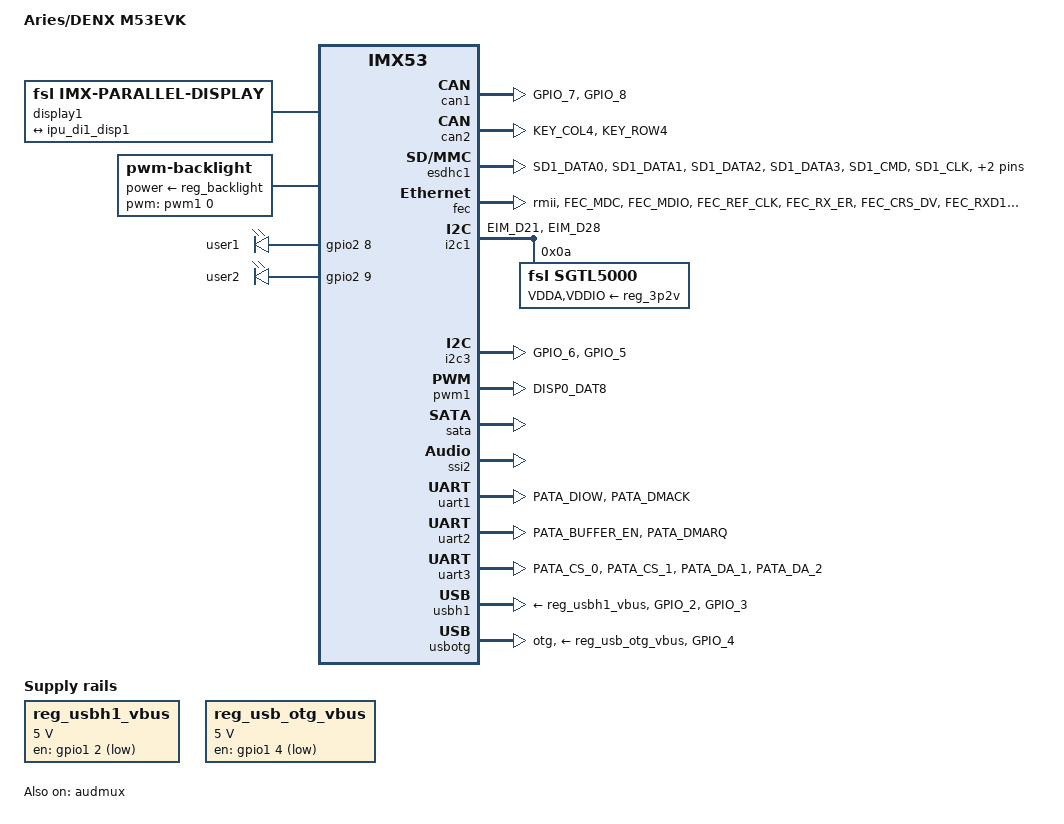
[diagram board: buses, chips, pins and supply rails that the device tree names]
/*
 * Copyright (C) 2013 Marek Vasut <marex@denx.de>
 *
 * The code contained herein is licensed under the GNU General Public
 * License. You may obtain a copy of the GNU General Public License
 * Version 2 or later at the following locations:
 *
 * http://www.opensource.org/licenses/gpl-license.html
 * http://www.gnu.org/copyleft/gpl.html
 */

/dts-v1/;
#include "imx53-m53.dtsi"

/ {
	model = "Aries/DENX M53EVK";
	compatible = "aries,imx53-m53evk", "denx,imx53-m53evk", "fsl,imx53";

	display1: display@di1 {
		compatible = "fsl,imx-parallel-display";
		interface-pix-fmt = "bgr666";
		pinctrl-names = "default";
		pinctrl-0 = <&pinctrl_ipu_disp1>;

		display-timings {
			800x480p60 {
				native-mode;
				clock-frequency = <31500000>;
				hactive = <800>;
				vactive = <480>;
				hfront-porch = <40>;
				hback-porch = <88>;
				hsync-len = <128>;
				vback-porch = <33>;
				vfront-porch = <9>;
				vsync-len = <3>;
				vsync-active = <1>;
			};
		};

		port {
			display1_in: endpoint {
				remote-endpoint = <&ipu_di1_disp1>;
			};
		};
	};

	backlight {
		compatible = "pwm-backlight";
		pwms = <&pwm1 0 3000>;
		brightness-levels = <0 4 8 16 32 64 128 255>;
		default-brightness-level = <6>;
		power-supply = <&reg_backlight>;
	};

	leds {
		compatible = "gpio-leds";
		pinctrl-names = "default";
		pinctrl-0 = <&led_pin_gpio>;

		user1 {
			label = "user1";
			gpios = <&gpio2 8 0>;
			linux,default-trigger = "heartbeat";
		};

		user2 {
			label = "user2";
			gpios = <&gpio2 9 0>;
			linux,default-trigger = "heartbeat";
		};
	};

	regulators {
		compatible = "simple-bus";
		#address-cells = <1>;
		#size-cells = <0>;

		reg_usbh1_vbus: regulator@3 {
			compatible = "regulator-fixed";
			reg = <3>;
			regulator-name = "vbus";
			regulator-min-microvolt = <5000000>;
			regulator-max-microvolt = <5000000>;
			gpio = <&gpio1 2 0>;
		};

		reg_usb_otg_vbus: regulator@4 {
			compatible = "regulator-fixed";
			reg = <4>;
			regulator-name = "usb_otg_vbus";
			regulator-min-microvolt = <5000000>;
			regulator-max-microvolt = <5000000>;
			gpio = <&gpio1 4 0>;
		};
	};

	sound {
		compatible = "fsl,imx53-m53evk-sgtl5000",
			     "fsl,imx-audio-sgtl5000";
		model = "imx53-m53evk-sgtl5000";
		ssi-controller = <&ssi2>;
		audio-codec = <&sgtl5000>;
		audio-routing =
			"MIC_IN", "Mic Jack",
			"Mic Jack", "Mic Bias",
			"LINE_IN", "Line In Jack",
			"Headphone Jack", "HP_OUT",
			"Ext Spk", "LINE_OUT";
		mux-int-port = <2>;
		mux-ext-port = <4>;
	};
};

&audmux {
	pinctrl-names = "default";
	pinctrl-0 = <&pinctrl_audmux>;
	status = "okay";
};

&can1 {
	pinctrl-names = "default";
	pinctrl-0 = <&pinctrl_can1>;
	status = "okay";
};

&can2 {
	pinctrl-names = "default";
	pinctrl-0 = <&pinctrl_can2>;
	status = "okay";
};

&esdhc1 {
	pinctrl-names = "default";
	pinctrl-0 = <&pinctrl_esdhc1>;
	cd-gpios = <&gpio1 1 GPIO_ACTIVE_LOW>;
	wp-gpios = <&gpio1 9 GPIO_ACTIVE_HIGH>;
	status = "okay";
};

&fec {
	pinctrl-names = "default";
	pinctrl-0 = <&pinctrl_fec>;
	phy-mode = "rmii";
	status = "okay";
};

&i2c1 {
	pinctrl-names = "default";
	pinctrl-0 = <&pinctrl_i2c1>;
	status = "okay";

	sgtl5000: codec@0a {
		compatible = "fsl,sgtl5000";
		reg = <0x0a>;
		VDDA-supply = <&reg_3p2v>;
		VDDIO-supply = <&reg_3p2v>;
		clocks = <&clks IMX5_CLK_SSI_EXT1_GATE>;
	};
};

&i2c3 {
	pinctrl-names = "default";
	pinctrl-0 = <&pinctrl_i2c3>;
	status = "okay";
};

&iomuxc {
	pinctrl-names = "default";
	pinctrl-0 = <&pinctrl_hog>;

	imx53-m53evk {
		pinctrl_usb: usbgrp {
			fsl,pins = <
				MX53_PAD_GPIO_2__GPIO1_2		0x80000000
				MX53_PAD_GPIO_3__USBOH3_USBH1_OC	0x80000000
			>;
		};

		pinctrl_usbotg: usbotggrp {
			fsl,pins = <
				MX53_PAD_GPIO_4__GPIO1_4		0x000b0
			>;
		};

		led_pin_gpio: led_gpio@0 {
			fsl,pins = <
				MX53_PAD_PATA_DATA8__GPIO2_8		0x80000000
				MX53_PAD_PATA_DATA9__GPIO2_9		0x80000000
			>;
		};

		pinctrl_audmux: audmuxgrp {
			fsl,pins = <
				MX53_PAD_SD2_DATA3__AUDMUX_AUD4_TXC	0x80000000
				MX53_PAD_SD2_DATA2__AUDMUX_AUD4_TXD	0x80000000
				MX53_PAD_SD2_DATA1__AUDMUX_AUD4_TXFS	0x80000000
				MX53_PAD_SD2_DATA0__AUDMUX_AUD4_RXD	0x80000000
			>;
		};

		pinctrl_can1: can1grp {
			fsl,pins = <
				MX53_PAD_GPIO_7__CAN1_TXCAN		0x80000000
				MX53_PAD_GPIO_8__CAN1_RXCAN		0x80000000
			>;
		};

		pinctrl_can2: can2grp {
			fsl,pins = <
				MX53_PAD_KEY_COL4__CAN2_TXCAN		0x80000000
				MX53_PAD_KEY_ROW4__CAN2_RXCAN		0x80000000
			>;
		};

		pinctrl_esdhc1: esdhc1grp {
			fsl,pins = <
				MX53_PAD_SD1_DATA0__ESDHC1_DAT0		0x1d5
				MX53_PAD_SD1_DATA1__ESDHC1_DAT1		0x1d5
				MX53_PAD_SD1_DATA2__ESDHC1_DAT2		0x1d5
				MX53_PAD_SD1_DATA3__ESDHC1_DAT3		0x1d5
				MX53_PAD_SD1_CMD__ESDHC1_CMD		0x1d5
				MX53_PAD_SD1_CLK__ESDHC1_CLK		0x1d5
			>;
		};

		pinctrl_fec: fecgrp {
			fsl,pins = <
				MX53_PAD_FEC_MDC__FEC_MDC		0x80000000
				MX53_PAD_FEC_MDIO__FEC_MDIO		0x80000000
				MX53_PAD_FEC_REF_CLK__FEC_TX_CLK	0x80000000
				MX53_PAD_FEC_RX_ER__FEC_RX_ER		0x80000000
				MX53_PAD_FEC_CRS_DV__FEC_RX_DV		0x80000000
				MX53_PAD_FEC_RXD1__FEC_RDATA_1		0x80000000
				MX53_PAD_FEC_RXD0__FEC_RDATA_0		0x80000000
				MX53_PAD_FEC_TX_EN__FEC_TX_EN		0x80000000
				MX53_PAD_FEC_TXD1__FEC_TDATA_1		0x80000000
				MX53_PAD_FEC_TXD0__FEC_TDATA_0		0x80000000
			>;
		};

		pinctrl_i2c1: i2c1grp {
			fsl,pins = <
				MX53_PAD_EIM_D21__I2C1_SCL		0xc0000000
				MX53_PAD_EIM_D28__I2C1_SDA		0xc0000000
			>;
		};

		pinctrl_i2c3: i2c3grp {
			fsl,pins = <
				MX53_PAD_GPIO_6__I2C3_SDA		0xc0000000
				MX53_PAD_GPIO_5__I2C3_SCL		0xc0000000
			>;
		};

		pinctrl_ipu_disp1: ipudisp1grp {
			fsl,pins = <
				MX53_PAD_EIM_DA9__IPU_DISP1_DAT_0	0x5
				MX53_PAD_EIM_DA8__IPU_DISP1_DAT_1	0x5
				MX53_PAD_EIM_DA7__IPU_DISP1_DAT_2	0x5
				MX53_PAD_EIM_DA6__IPU_DISP1_DAT_3	0x5
				MX53_PAD_EIM_DA5__IPU_DISP1_DAT_4	0x5
				MX53_PAD_EIM_DA4__IPU_DISP1_DAT_5	0x5
				MX53_PAD_EIM_DA3__IPU_DISP1_DAT_6	0x5
				MX53_PAD_EIM_DA2__IPU_DISP1_DAT_7	0x5
				MX53_PAD_EIM_DA1__IPU_DISP1_DAT_8	0x5
				MX53_PAD_EIM_DA0__IPU_DISP1_DAT_9	0x5
				MX53_PAD_EIM_EB1__IPU_DISP1_DAT_10	0x5
				MX53_PAD_EIM_EB0__IPU_DISP1_DAT_11	0x5
				MX53_PAD_EIM_A17__IPU_DISP1_DAT_12	0x5
				MX53_PAD_EIM_A18__IPU_DISP1_DAT_13	0x5
				MX53_PAD_EIM_A19__IPU_DISP1_DAT_14	0x5
				MX53_PAD_EIM_A20__IPU_DISP1_DAT_15	0x5
				MX53_PAD_EIM_A21__IPU_DISP1_DAT_16	0x5
				MX53_PAD_EIM_A22__IPU_DISP1_DAT_17	0x5
				MX53_PAD_EIM_A23__IPU_DISP1_DAT_18	0x5
				MX53_PAD_EIM_A24__IPU_DISP1_DAT_19	0x5
				MX53_PAD_EIM_D31__IPU_DISP1_DAT_20	0x5
				MX53_PAD_EIM_D30__IPU_DISP1_DAT_21	0x5
				MX53_PAD_EIM_D26__IPU_DISP1_DAT_22	0x5
				MX53_PAD_EIM_D27__IPU_DISP1_DAT_23	0x5
				MX53_PAD_EIM_A16__IPU_DI1_DISP_CLK	0x5
				MX53_PAD_EIM_DA13__IPU_DI1_D0_CS	0x5
				MX53_PAD_EIM_DA14__IPU_DI1_D1_CS	0x5
				MX53_PAD_EIM_DA15__IPU_DI1_PIN1		0x5
				MX53_PAD_EIM_DA11__IPU_DI1_PIN2		0x5
				MX53_PAD_EIM_DA12__IPU_DI1_PIN3		0x5
				MX53_PAD_EIM_A25__IPU_DI1_PIN12		0x5
				MX53_PAD_EIM_DA10__IPU_DI1_PIN15	0x5
			>;
		};

		pinctrl_pwm1: pwm1grp {
			fsl,pins = <
				MX53_PAD_DISP0_DAT8__PWM1_PWMO		0x5
			>;
		};

		pinctrl_uart1: uart1grp {
			fsl,pins = <
				MX53_PAD_PATA_DIOW__UART1_TXD_MUX	0x1e4
				MX53_PAD_PATA_DMACK__UART1_RXD_MUX	0x1e4
			>;
		};

		pinctrl_uart2: uart2grp {
			fsl,pins = <
				MX53_PAD_PATA_BUFFER_EN__UART2_RXD_MUX	0x1e4
				MX53_PAD_PATA_DMARQ__UART2_TXD_MUX	0x1e4
			>;
		};

		pinctrl_uart3: uart3grp {
			fsl,pins = <
				MX53_PAD_PATA_CS_0__UART3_TXD_MUX	0x1e4
				MX53_PAD_PATA_CS_1__UART3_RXD_MUX	0x1e4
				MX53_PAD_PATA_DA_1__UART3_CTS		0x1e4
				MX53_PAD_PATA_DA_2__UART3_RTS		0x1e4
			>;
		};
	};
};

&ipu_di1_disp1 {
	remote-endpoint = <&display1_in>;
};

&pwm1 {
	pinctrl-names = "default";
	pinctrl-0 = <&pinctrl_pwm1>;
	status = "okay";
};

&sata {
	status = "okay";
};

&ssi2 {
	status = "okay";
};

&uart1 {
	pinctrl-names = "default";
	pinctrl-0 = <&pinctrl_uart1>;
	status = "okay";
};

&uart2 {
	pinctrl-names = "default";
	pinctrl-0 = <&pinctrl_uart2>;
	status = "okay";
};

&uart3 {
	pinctrl-names = "default";
	pinctrl-0 = <&pinctrl_uart3>;
	status = "okay";
};

&usbh1 {
	pinctrl-names = "default";
	pinctrl-0 = <&pinctrl_usb>;
	vbus-supply = <&reg_usbh1_vbus>;
	phy_type = "utmi";
	status = "okay";
};

&usbotg {
	pinctrl-names = "default";
	pinctrl-0 = <&pinctrl_usbotg>;
	dr_mode = "otg";
	vbus-supply = <&reg_usb_otg_vbus>;
	disable-over-current;
	status = "okay";
};
